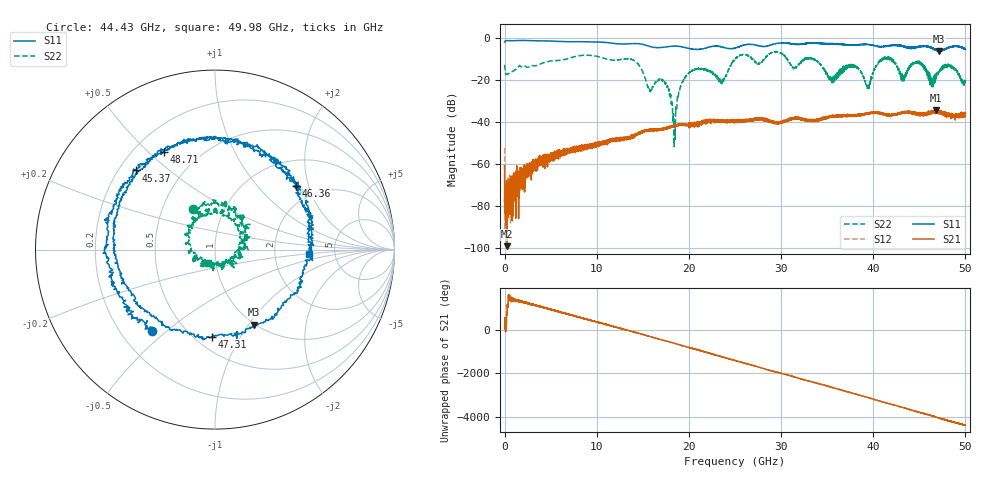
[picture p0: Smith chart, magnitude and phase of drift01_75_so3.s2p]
!Created with skrf (http://scikit-rf.org).
# Hz S RI R 50.0
!freq ReS11 ImS11 ReS21 ImS21 ReS12 ImS12 ReS22 ImS22
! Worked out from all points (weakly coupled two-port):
!   10001 points, 300 kHz to 50 GHz, reference 50 ohm
!   highest |S21| = -34.40 dB at 46.83 GHz (marker M1); lowest = -99.0 dB at 280.3 MHz (marker M2)
!   lowest |S11| = -6.5 dB at 47.11 GHz (marker M3), VSWR 2.78, Z = 49.6 - j53.2 ohm
!   |S11| at or under -10 dB: nowhere
!   |S22| runs from -51.7 to -6.6 dB; largest |S21 - S12| = 0.0044
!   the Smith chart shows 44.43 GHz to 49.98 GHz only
!   S11 on the Smith chart (normalised r, x): 44.43 GHz: 0.33, -0.45; 45.37 GHz: 0.27, +0.39; 46.36 GHz: 1.58, +1.65; 47.31 GHz: 0.60, -0.77; 48.71 GHz: 0.32, +0.56; 49.98 GHz: 3.21, -0.22
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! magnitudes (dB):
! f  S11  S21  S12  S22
! 300 kHz  -2.1  -60.8  -52.4  -12.9
! 280.3 MHz  -1.4  -99.0  -78.0  -17.5
! 8.335 GHz  -1.9  -52.6  -52.0  -8.5
! 16.67 GHz  -4.8  -43.8  -43.6  -20.0
! 17.65 GHz  -4.4  -42.9  -43.1  -23.0
! 18.45 GHz  -4.0  -41.6  -41.9  -43.1
! 19.97 GHz  -5.1  -41.4  -41.1  -16.9
! 23.64 GHz  -4.5  -39.5  -39.7  -20.5
! 25 GHz  -5.0  -39.6  -39.7  -10.2
! 33.34 GHz  -2.5  -39.3  -39.6  -10.1
! 39.43 GHz  -3.2  -36.2  -35.9  -23.5
! 41.67 GHz  -3.8  -36.7  -36.7  -10.2
! 43.25 GHz  -3.9  -35.6  -35.4  -18.9
! 44.43 GHz  -4.8  -35.6  -36.0  -11.7
! 45.37 GHz  -4.1  -36.4  -36.2  -13.7
! 46.36 GHz  -4.9  -35.5  -35.3  -22.6
! 46.83 GHz  -5.7  -34.4  -35.4  -19.5
! 47.11 GHz  -6.5  -35.2  -35.2  -15.7
! 47.31 GHz  -6.3  -35.6  -35.4  -15.0
! 48.71 GHz  -4.2  -37.4  -36.7  -14.8
! 49.98 GHz  -5.6  -36.4  -36.6  -21.3
! 50 GHz  -5.5  -35.8  -36.1  -21.6
